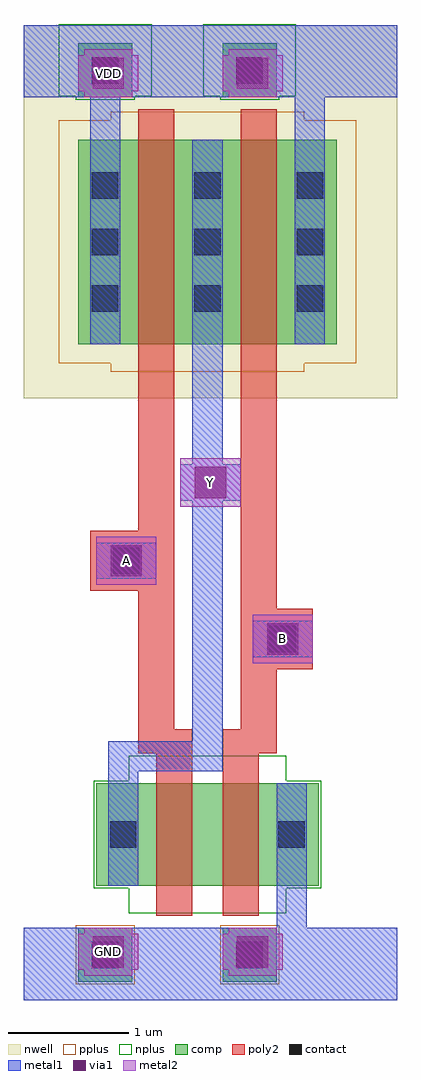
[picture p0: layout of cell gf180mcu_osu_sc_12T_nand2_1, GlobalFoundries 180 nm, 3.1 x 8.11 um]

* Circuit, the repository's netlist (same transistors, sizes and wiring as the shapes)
.inc "../../char/techfiles/design.hspice"
.lib "../../char/techfiles/sm141064.hspice" typical

.GLOBAL VDD
.GLOBAL GND

.option scale=0.05u

.subckt gf180mcu_osu_sc_12T_nand2_1 A B Y
X0 VDD B Y VDD pmos_3p3 w=34 l=6
X1 Y A VDD VDD pmos_3p3 w=34 l=6
X2 a_28_16 A Y GND nmos_3p3 w=17 l=6
X3 GND B a_28_16 GND nmos_3p3 w=17 l=6
.ends

** hspice subcircuit dictionary

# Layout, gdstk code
import gdstk
lib = gdstk.Library(unit=1e-6, precision=1e-09)
def R(c, l, rs):  # rectangles x0, y0, x1, y1
    for r in rs: c.add(gdstk.rectangle(r[:2], r[2:], *l))
def A(c, l, x, y, w, h, nx, ny, dx, dy):  # array of equal rectangles
    R(c, l, [(x+i*dx, y+j*dy, x+i*dx+w, y+j*dy+h) for i in range(nx) for j in range(ny)])
nwell = (21, 0)
comp = (22, 0)
poly2 = (30, 0)
pplus = (31, 0)
nplus = (32, 0)
contact = (33, 0)
metal1 = (34, 0)
via1 = (35, 0)
metal2 = (36, 0)

gf180mcu_osu_sc_12t_nand = lib.new_cell('gf180mcu_osu_sc_12T_nand2_1')
R(gf180mcu_osu_sc_12t_nand, nwell, [(0,4.85,3.1,7.95)])
R(gf180mcu_osu_sc_12t_nand, comp, [(0.45,0,0.9,0.45), (1.65,0,2.1,0.45), (0.6,0.8,2.45,1.65), (0.45,5.3,2.6,7), (0.45,7.35,0.9,7.8), (1.65,7.35,2.1,7.8)])
R(gf180mcu_osu_sc_12t_nand, poly2, [(1.1,0.55,1.4,1.9), (1.65,0.55,1.95,1.9), (0.95,1.9,1.4,2.1), (1.65,1.9,2.1,2.1), (0.95,2.1,1.25,3.25), (1.8,2.1,2.1,2.6), (1.8,2.6,2.4,3.1), (1.8,3.1,2.1,7.25), (0.55,3.25,1.25,3.75), (0.95,3.75,1.25,7.25)])
R(gf180mcu_osu_sc_12t_nand, pplus, [(0.43,-0.02,0.92,0.47), (1.63,-0.02,2.12,0.47), (0.72,5.07,2.33,5.14), (0.29,5.14,2.76,7.16), (0.72,7.16,2.33,7.23)])
R(gf180mcu_osu_sc_12t_nand, nplus, [(0.87,0.57,2.18,0.78), (0.58,0.78,2.47,1.67), (0.87,1.67,2.18,1.88), (0.43,7.33,0.92,7.36), (1.63,7.33,2.12,7.36), (0.29,7.36,1.06,7.96), (1.49,7.36,2.26,7.96)])
A(gf180mcu_osu_sc_12t_nand, contact, 0.565, 5.57, 0.22, 0.22, 3, 3, 0.85, 0.47)
R(gf180mcu_osu_sc_12t_nand, contact, [(0.565,0.115,0.785,0.335), (1.765,0.115,1.985,0.335), (0.715,1.115,0.935,1.335), (2.115,1.115,2.335,1.335), (2.04,2.74,2.26,2.96), (0.74,3.39,0.96,3.61), (0.565,7.465,0.785,7.685), (1.765,7.465,1.985,7.685)])
R(gf180mcu_osu_sc_12t_nand, metal1, [(0,-0.15,3.1,0.45), (2.1,0.45,2.35,1.65), (0.7,0.8,0.95,1.75), (0.7,1.75,1.65,2), (1.4,2,1.65,4), (1.9,2.7,2.4,3), (0.6,3.35,1.1,3.65), (1.3,4,1.8,4.3), (1.4,4.3,1.65,7), (0.55,5.3,0.8,7.35), (2.25,5.3,2.5,7.35), (0,7.35,3.1,7.95)])
R(gf180mcu_osu_sc_12t_nand, via1, [(0.57,0.12,0.83,0.38), (1.77,0.12,2.03,0.38), (2.02,2.72,2.28,2.98), (0.72,3.37,0.98,3.63), (1.42,4.02,1.68,4.28), (0.57,7.42,0.83,7.68), (1.77,7.42,2.03,7.68)])
R(gf180mcu_osu_sc_12t_nand, metal2, [(0.5,0.05,0.9,0.1), (1.7,0.05,2.1,0.1), (0.45,0.1,0.95,0.4), (1.65,0.1,2.15,0.4), (0.5,0.4,0.9,0.45), (1.7,0.4,2.1,0.45), (1.9,2.65,2.4,3.05), (0.6,3.3,1.1,3.7), (1.3,3.95,1.8,4.35), (0.5,7.35,0.9,7.4), (1.7,7.35,2.1,7.4), (0.45,7.4,0.95,7.7), (1.65,7.4,2.15,7.7), (0.5,7.7,0.9,7.75), (1.7,7.7,2.1,7.75)])
gf180mcu_osu_sc_12t_nand.add(gdstk.Label('VDD', (0.7,7.55), layer=36, texttype=0))
gf180mcu_osu_sc_12t_nand.add(gdstk.Label('GND', (0.7,0.25), layer=36, texttype=0))
gf180mcu_osu_sc_12t_nand.add(gdstk.Label('A', (0.85,3.5), layer=36, texttype=10))
gf180mcu_osu_sc_12t_nand.add(gdstk.Label('B', (2.15,2.85), layer=36, texttype=10))
gf180mcu_osu_sc_12t_nand.add(gdstk.Label('Y', (1.55,4.15), layer=36, texttype=10))

lib.write_gds('gf180mcu_osu_sc_12T_nand2_1.gds')
